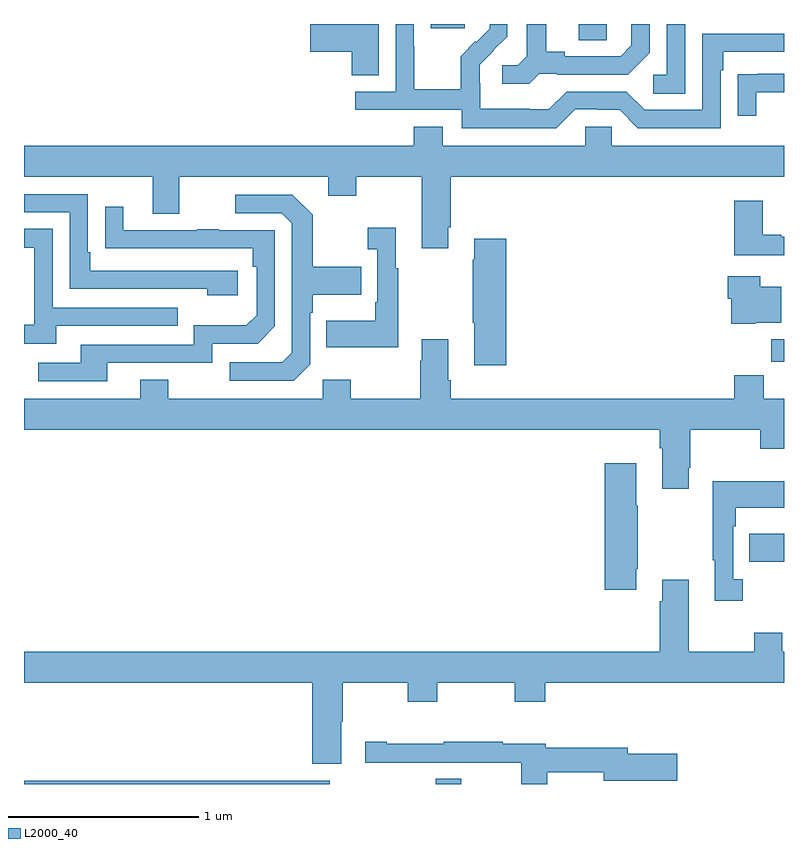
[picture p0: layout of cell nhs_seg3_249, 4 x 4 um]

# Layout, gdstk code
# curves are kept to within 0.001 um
import gdstk
lib = gdstk.Library(unit=1e-6, precision=1e-09)
def R(c, l, rs):  # rectangles x0, y0, x1, y1
    for r in rs: c.add(gdstk.rectangle(r[:2], r[2:], *l))
def P(c, l, *ps):  # polygons
    for p in ps: c.add(gdstk.Polygon(p, *l))
L2000_40 = (2000, 40)

nhs_seg3_249 = lib.new_cell('nhs_seg3_249')
R(nhs_seg3_249, L2000_40, [(123,684.4,124.608,684.416), (125.168,684.4,125.302,684.428), (126.817,685.57,127,685.717), (126.934,686.622,127,686.74), (125.921,688.315,126.066,688.4), (125.141,688.377,125.32,688.4)])
P(nhs_seg3_249, L2000_40, [(125.712,688.137),(125.806,688.137),(125.806,688.134),(126.178,688.134),(126.294,688.25),(126.294,688.4),(126.197,688.4),(126.197,688.287),(126.14,688.23),(125.845,688.23),(125.845,688.253),(125.749,688.253),(125.749,688.4),(125.645,688.4),(125.645,688.229),(125.598,688.182),(125.517,688.182),(125.517,688.085),(125.66,688.085)],
  [(125.901,687.951),(126.017,687.951),(126.017,687.948),(126.135,687.948),(126.231,687.852),(126.666,687.852),(126.666,688.157),(126.679,688.157),(126.679,688.254),(127,688.254),(127,688.35),(126.57,688.35),(126.57,687.948),(126.267,687.948),(126.171,688.044),(125.856,688.044),(125.763,687.951),(125.663,687.951),(125.663,687.955),(125.4,687.955),(125.4,688.089),(125.398,688.089),(125.398,688.186),(125.544,688.334),(125.544,688.4),(125.45,688.4),(125.45,688.376),(125.379,688.305),(125.376,688.308),(125.299,688.231),(125.299,688.057),(125.055,688.057),(125.055,688.28),(125.052,688.28),(125.052,688.4),(124.956,688.4),(124.956,688.044),(124.743,688.044),(124.743,687.948),(125.304,687.948),(125.304,687.851),(125.801,687.851)],
  [(126.48,688.4),(126.384,688.4),(126.384,688.134),(126.312,688.134),(126.312,688.033),(126.48,688.033)],
  [(124.867,688.4),(124.506,688.4),(124.506,688.253),(124.724,688.253),(124.724,688.129),(124.867,688.129)],
  [(126.853,688.041),(127,688.041),(127,688.137),(126.859,688.137),(126.859,688.136),(126.757,688.136),(126.757,687.918),(126.853,687.918)],
  [(125.233,687.331),(125.246,687.331),(125.246,687.596),(127,687.596),(127,687.76),(126.093,687.76),(126.093,687.858),(125.955,687.858),(125.955,687.76),(125.203,687.76),(125.203,687.859),(125.051,687.859),(125.051,687.76),(123,687.76),(123,687.596),(123.677,687.596),(123.677,687.402),(123.817,687.402),(123.817,687.596),(124.601,687.596),(124.601,687.497),(124.749,687.497),(124.749,687.596),(125.093,687.596),(125.093,687.219),(125.233,687.219)],
  [(124.126,687.102),(123.349,687.102),(123.349,687.199),(123.336,687.199),(123.336,687.504),(123,687.504),(123,687.408),(123.24,687.408),(123.24,687.006),(123.965,687.006),(123.965,686.972),(124.126,686.972)],
  [(124.506,686.61),(124.506,686.879),(124.519,686.879),(124.519,686.975),(124.775,686.975),(124.775,687.123),(124.519,687.123),(124.519,687.395),(124.413,687.501),(124.113,687.501),(124.113,687.405),(124.356,687.405),(124.41,687.351),(124.41,686.67),(124.359,686.619),(124.083,686.619),(124.083,686.523),(124.419,686.523)],
  [(127,687.279),(126.985,687.279),(126.985,687.292),(126.889,687.292),(126.889,687.469),(126.737,687.469),(126.737,687.182),(127,687.182)],
  [(123.439,686.616),(123.99,686.616),(123.99,686.718),(124.23,686.718),(124.32,686.808),(124.32,687.315),(124.025,687.315),(124.025,687.32),(123.913,687.32),(123.913,687.315),(123.523,687.315),(123.523,687.439),(123.427,687.439),(123.427,687.22),(124.204,687.219),(124.204,687.122),(124.224,687.122),(124.224,686.868),(124.171,686.815),(123.894,686.815),(123.894,686.712),(123.299,686.712),(123.299,686.616),(123.075,686.616),(123.075,686.52),(123.439,686.52)],
  [(124.969,687.115),(124.957,687.115),(124.957,687.328),(124.809,687.328),(124.809,687.215),(124.86,687.215),(124.86,686.935),(124.848,686.935),(124.848,686.839),(124.591,686.839),(124.591,686.699),(124.969,686.699)],
  [(123.169,686.811),(123.809,686.811),(123.809,686.907),(123.15,686.907),(123.15,687.323),(123,687.323),(123,687.222),(123.054,687.222),(123.054,686.817),(123,686.817),(123,686.717),(123.169,686.717)],
  [(125.537,687.271),(125.369,687.271),(125.369,687.158),(125.362,687.158),(125.362,686.827),(125.369,686.827),(125.369,686.604),(125.537,686.604)],
  [(126.852,686.828),(126.985,686.828),(126.985,687.016),(126.874,687.016),(126.874,687.073),(126.704,687.073),(126.704,686.955),(126.722,686.955),(126.722,686.822),(126.852,686.822)],
  [(126.499,686.065),(126.507,686.065),(126.507,686.264),(126.874,686.264),(126.874,686.165),(127,686.165),(127,686.428),(126.893,686.428),(126.893,686.552),(126.737,686.552),(126.737,686.428),(125.246,686.428),(125.246,686.524),(125.233,686.524),(125.233,686.74),(125.093,686.74),(125.093,686.627),(125.086,686.627),(125.086,686.428),(124.719,686.428),(124.719,686.527),(124.572,686.527),(124.572,686.428),(123.759,686.428),(123.759,686.527),(123.611,686.527),(123.611,686.428),(123,686.428),(123,686.264),(126.347,686.264),(126.347,686.168),(126.359,686.168),(126.359,685.953),(126.499,685.953)],
  [(126.223,685.534),(126.231,685.534),(126.231,685.865),(126.223,685.865),(126.223,686.089),(126.056,686.089),(126.056,685.422),(126.223,685.422)],
  [(126.784,685.478),(126.732,685.478),(126.732,685.757),(126.745,685.757),(126.745,685.853),(127,685.853),(127,685.993),(126.624,685.993),(126.624,685.577),(126.635,685.577),(126.635,685.365),(126.784,685.365)],
  [(124.669,684.728),(124.677,684.728),(124.677,684.932),(125.02,684.932),(125.02,684.833),(125.175,684.833),(125.175,684.932),(125.584,684.932),(125.584,684.833),(125.744,684.833),(125.744,684.932),(127,684.932),(127,685.096),(126.991,685.096),(126.991,685.195),(126.844,685.195),(126.844,685.096),(126.499,685.096),(126.499,685.474),(126.359,685.474),(126.359,685.361),(126.347,685.361),(126.347,685.096),(123,685.096),(123,684.932),(124.517,684.932),(124.517,684.507),(124.669,684.507)],
  [(125.754,684.463),(126.05,684.463),(126.05,684.416),(126.439,684.416),(126.439,684.558),(126.178,684.558),(126.178,684.592),(125.746,684.592),(125.746,684.612),(125.519,684.612),(125.519,684.622),(125.209,684.622),(125.209,684.612),(124.909,684.612),(124.909,684.622),(124.797,684.622),(124.797,684.512),(125.072,684.512),(125.072,684.513),(125.406,684.513),(125.406,684.512),(125.616,684.512),(125.616,684.4),(125.754,684.4)])

lib.write_gds('nhs_seg3_249.gds')
